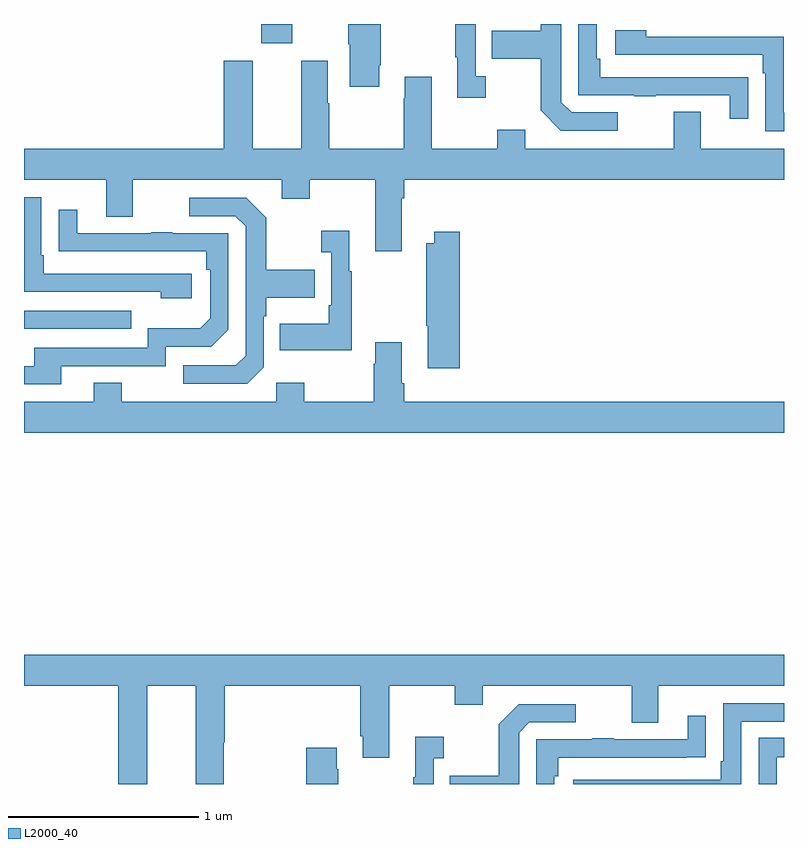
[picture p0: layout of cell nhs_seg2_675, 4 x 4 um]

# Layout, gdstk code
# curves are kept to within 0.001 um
import gdstk
lib = gdstk.Library(unit=1e-6, precision=1e-09)
def R(c, l, rs):  # rectangles x0, y0, x1, y1
    for r in rs: c.add(gdstk.rectangle(r[:2], r[2:], *l))
def P(c, l, *ps):  # polygons
    for p in ps: c.add(gdstk.Polygon(p, *l))
L2000_40 = (2000, 40)

nhs_seg2_675 = lib.new_cell('nhs_seg2_675')
R(nhs_seg2_675, L2000_40, [(145,636.195,145.565,636.291), (146.249,637.698,146.413,637.8)])
P(nhs_seg2_675, L2000_40, [(148.811,637.52),(148.709,637.52),(148.709,637.521),(148.034,637.521),(148.034,637.618),(148.014,637.618),(148.014,637.8),(147.918,637.8),(147.918,637.425),(148.213,637.425),(148.213,637.42),(148.325,637.42),(148.325,637.425),(148.715,637.425),(148.715,637.302),(148.811,637.302)],
  [(146.869,637.582),(146.877,637.582),(146.877,637.8),(146.707,637.8),(146.707,637.693),(146.714,637.693),(146.714,637.47),(146.869,637.47)],
  [(148.126,637.335),(147.882,637.335),(147.828,637.389),(147.828,637.8),(147.72,637.8),(147.72,637.765),(147.463,637.765),(147.463,637.618),(147.72,637.618),(147.72,637.345),(147.825,637.239),(148.126,637.239)],
  [(147.43,637.526),(147.378,637.526),(147.378,637.8),(147.27,637.8),(147.27,637.625),(147.281,637.625),(147.281,637.413),(147.43,637.413)],
  [(149,637.332),(148.998,637.332),(148.998,637.734),(148.274,637.734),(148.274,637.768),(148.113,637.768),(148.113,637.638),(148.889,637.638),(148.889,637.541),(148.902,637.541),(148.902,637.236),(149,637.236)],
  [(146.989,636.884),(147.002,636.884),(147.002,636.98),(149,636.98),(149,637.144),(148.561,637.144),(148.561,637.339),(148.421,637.339),(148.421,637.144),(147.637,637.144),(147.637,637.243),(147.49,637.243),(147.49,637.144),(147.145,637.144),(147.145,637.522),(147.005,637.522),(147.005,637.409),(146.998,637.409),(146.998,637.144),(146.607,637.144),(146.607,637.382),(146.599,637.382),(146.599,637.606),(146.459,637.606),(146.459,637.144),(146.203,637.144),(146.203,637.606),(146.051,637.606),(146.051,637.144),(145,637.144),(145,636.98),(145.433,636.98),(145.433,636.786),(145.573,636.786),(145.573,636.98),(146.357,636.98),(146.357,636.881),(146.505,636.881),(146.505,636.98),(146.849,636.98),(146.849,636.603),(146.989,636.603)],
  [(145.882,636.486),(145.105,636.486),(145.105,636.583),(145.092,636.583),(145.092,636.888),(145,636.888),(145,636.39),(145.721,636.39),(145.721,636.356),(145.882,636.356)],
  [(146.262,635.994),(146.262,636.263),(146.275,636.263),(146.275,636.359),(146.531,636.359),(146.531,636.507),(146.275,636.507),(146.275,636.779),(146.169,636.885),(145.869,636.885),(145.869,636.789),(146.112,636.789),(146.166,636.735),(146.166,636.054),(146.115,636.003),(145.839,636.003),(145.839,635.907),(146.175,635.907)],
  [(145.195,636),(145.746,636),(145.746,636.102),(145.986,636.102),(146.076,636.192),(146.076,636.699),(145.781,636.699),(145.781,636.704),(145.669,636.704),(145.669,636.699),(145.279,636.699),(145.279,636.823),(145.183,636.823),(145.183,636.604),(145.96,636.603),(145.96,636.506),(145.98,636.506),(145.98,636.252),(145.927,636.199),(145.65,636.199),(145.65,636.096),(145.055,636.096),(145.055,636),(145,636),(145,635.904),(145.195,635.904)],
  [(146.725,636.499),(146.713,636.499),(146.713,636.712),(146.565,636.712),(146.565,636.599),(146.616,636.599),(146.616,636.319),(146.604,636.319),(146.604,636.223),(146.347,636.223),(146.347,636.083),(146.725,636.083)],
  [(147.293,636.706),(147.158,636.706),(147.158,636.646),(147.118,636.646),(147.118,636.211),(147.125,636.211),(147.125,635.988),(147.293,635.988)],
  [(149,635.812),(147.002,635.812),(147.002,635.908),(146.989,635.908),(146.989,636.124),(146.849,636.124),(146.849,636.011),(146.842,636.011),(146.842,635.812),(146.475,635.812),(146.475,635.911),(146.328,635.911),(146.328,635.812),(145.515,635.812),(145.515,635.911),(145.367,635.911),(145.367,635.812),(145,635.812),(145,635.648),(149,635.648)],
  [(145,634.316),(145.496,634.316),(145.496,633.8),(145.648,633.8),(145.648,634.316),(145.904,634.316),(145.904,633.8),(146.052,633.8),(146.052,634.02),(146.057,634.02),(146.057,634.316),(146.771,634.316),(146.771,634.051),(146.783,634.051),(146.783,633.939),(146.923,633.939),(146.923,634.316),(147.268,634.316),(147.268,634.217),(147.415,634.217),(147.415,634.316),(148.199,634.316),(148.199,634.122),(148.339,634.122),(148.339,634.316),(149,634.316),(149,634.48),(145,634.48)],
  [(148.776,634.128),(149,634.128),(149,634.224),(148.68,634.224),(148.68,633.919),(148.667,633.919),(148.667,633.822),(147.891,633.822),(147.891,633.8),(148.776,633.8)],
  [(147.606,634.071),(147.66,634.125),(147.904,634.125),(147.904,634.221),(147.603,634.221),(147.498,634.115),(147.498,633.843),(147.241,633.843),(147.241,633.8),(147.606,633.8)],
  [(147.792,633.842),(147.812,633.842),(147.812,633.939),(148.487,633.939),(148.487,633.94),(148.589,633.94),(148.589,634.159),(148.493,634.159),(148.493,634.035),(148.103,634.035),(148.103,634.04),(147.991,634.04),(147.991,634.035),(147.696,634.035),(147.696,633.8),(147.792,633.8)],
  [(147.156,633.935),(147.208,633.935),(147.208,634.048),(147.059,634.048),(147.059,633.835),(147.048,633.835),(147.048,633.8),(147.156,633.8)],
  [(148.962,633.942),(149,633.942),(149,634.043),(148.866,634.043),(148.866,633.8),(148.962,633.8)],
  [(146.655,633.878),(146.647,633.878),(146.647,633.991),(146.485,633.991),(146.485,633.8),(146.655,633.8)])

lib.write_gds('nhs_seg2_675.gds')
